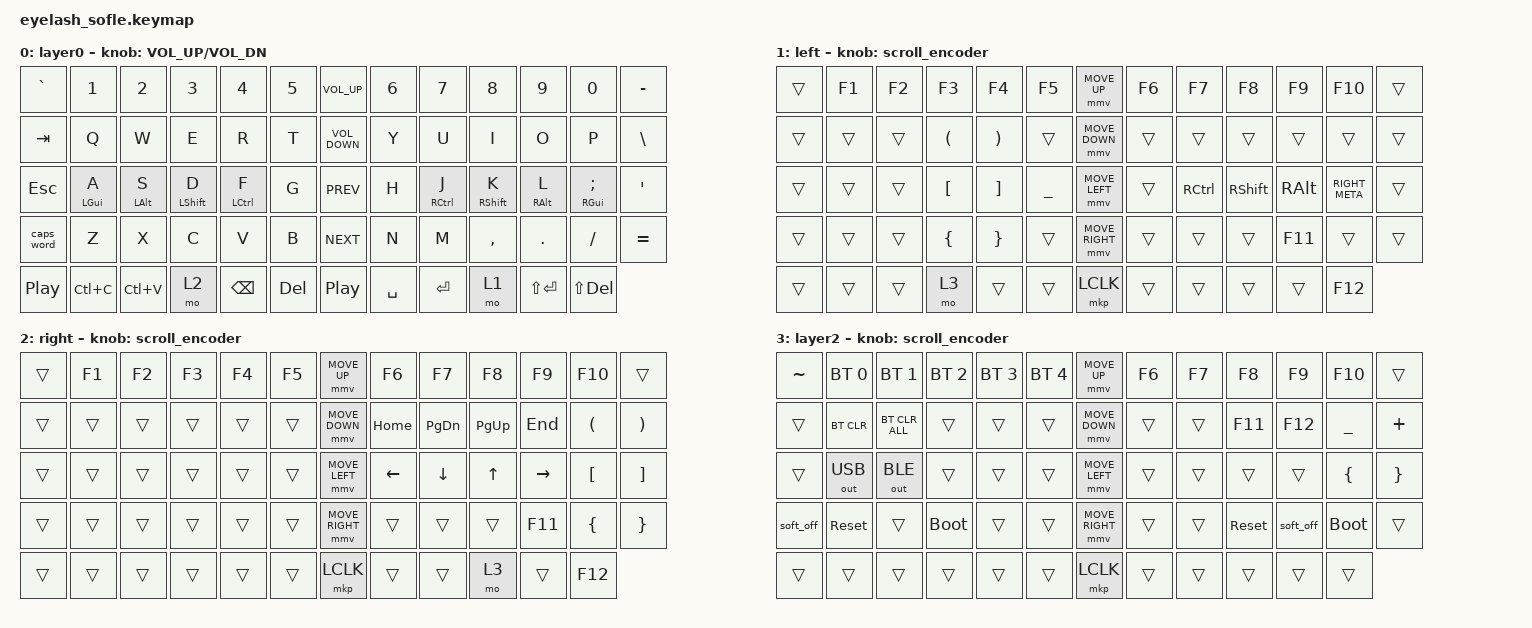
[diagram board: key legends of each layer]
#define ZMK_POINTING_DEFAULT_MOVE_VAL 1200  // 600
#define ZMK_POINTING_DEFAULT_SCRL_VAL 35    // 10

#include <input/processors.dtsi>
#include <zephyr/dt-bindings/input/input-event-codes.h>
#include <behaviors.dtsi>
#include <dt-bindings/zmk/bt.h>
#include <dt-bindings/zmk/keys.h>
#include <dt-bindings/zmk/outputs.h>
#include <dt-bindings/zmk/pointing.h>

/ {
    zip_scroll_scaler: zip_scroll_scaler {
        compatible = "zmk,input-processor-scaler";
        #input-processor-cells = <2>;
        type = <INPUT_EV_REL>;
        codes = <INPUT_REL_WHEEL INPUT_REL_HWHEEL>;
        track-remainders;
    };
};

&mmv_input_listener { input-processors = <&zip_xy_scaler 2 1>; };

&msc_input_listener { input-processors = <&zip_scroll_scaler 2 1>; };

&msc {
    acceleration-exponent = <0>;      // 0
    time-to-max-speed-ms = <0>;       // 300
    delay-ms = <0>;                   // 0
};

&mmv {
    time-to-max-speed-ms = <400>;
    acceleration-exponent = <1>;
};

/ {
    scroll_encoder: scroll_encoder {
        compatible = "zmk,behavior-sensor-rotate";
        #sensor-binding-cells = <0>;
        bindings = <&msc SCRL_DOWN>, <&msc SCRL_UP>;

        tap-ms = <30>;
    };

    behaviors {
        lh_pht: lh_pht {
            compatible = "zmk,behavior-hold-tap";
            label = "LH_PHT";
            bindings = <&kp>, <&kp>;

            #binding-cells = <2>;
            tapping-term-ms = <150>;
            quick-tap-ms = <150>;
            hold-trigger-key-positions = <7 8 9 10 11 12 20 21 22 23 24 25 33 34 35 36 37 38 46 47 48 49 50 51 60 61 62 63 59>;
            flavor = "tap-preferred";
            hold-trigger-on-release;
        };

        rh_pht: rh_pht {
            compatible = "zmk,behavior-hold-tap";
            label = "RH_PHT";
            bindings = <&kp>, <&kp>;

            #binding-cells = <2>;
            tapping-term-ms = <150>;
            quick-tap-ms = <150>;
            hold-trigger-key-positions = <0 1 2 4 5 13 14 15 16 17 18 26 27 28 29 30 31 39 40 41 42 43 44 52 53 54 55 56 57>;
            flavor = "tap-preferred";
            hold-trigger-on-release;
        };
    };

    keymap {
        compatible = "zmk,keymap";

        layer0 {
            bindings = <
&kp GRAVE         &kp N1              &kp N2              &kp N3                &kp N4                  &kp N5        &kp C_VOLUME_UP    &kp N6     &kp N7                   &kp N8                 &kp N9               &kp N0                  &kp MINUS
&kp TAB           &kp Q               &kp W               &kp E                 &kp R                   &kp T         &kp C_VOLUME_DOWN  &kp Y      &kp U                    &kp I                  &kp O                &kp P                   &kp BSLH
&kp ESCAPE        &lh_pht LEFT_GUI A  &lh_pht LEFT_ALT S  &lh_pht LEFT_SHIFT D  &lh_pht LEFT_CONTROL F  &kp G         &kp C_PREV         &kp H      &rh_pht RIGHT_CONTROL J  &rh_pht RIGHT_SHIFT K  &rh_pht RIGHT_ALT L  &rh_pht RIGHT_GUI SEMI  &kp APOS
&caps_word        &kp Z               &kp X               &kp C                 &kp V                   &kp B         &kp C_NEXT         &kp N      &kp M                    &kp COMMA              &kp DOT              &kp FSLH                &kp EQUAL
&kp C_PLAY_PAUSE  &kp LC(C)           &kp LC(V)           &mo 2                 &kp BACKSPACE           &kp DELETE    &kp C_PLAY_PAUSE   &kp SPACE  &kp ENTER                &mo 1                  &kp LS(ENTER)        &kp LS(DELETE)
            >;

            sensor-bindings = <&inc_dec_kp C_VOLUME_UP C_VOL_DN>;
            display-name = "layer0";
        };

        left {
            bindings = <
&trans  &kp F1  &kp F2  &kp F3                &kp F4                 &kp F5            &mmv MOVE_UP     &kp F6  &kp F7     &kp F8      &kp F9    &kp F10         &trans
&trans  &trans  &trans  &kp LEFT_PARENTHESIS  &kp RIGHT_PARENTHESIS  &trans            &mmv MOVE_DOWN   &trans  &trans     &trans      &trans    &trans          &trans
&trans  &trans  &trans  &kp LEFT_BRACKET      &kp RIGHT_BRACKET      &kp UNDERSCORE    &mmv MOVE_LEFT   &trans  &kp RCTRL  &kp RSHIFT  &kp RALT  &kp RIGHT_META  &trans
&trans  &trans  &trans  &kp LEFT_BRACE        &kp RIGHT_BRACE        &trans            &mmv MOVE_RIGHT  &trans  &trans     &trans      &kp F11   &trans          &trans
&trans  &trans  &trans  &mo 3                 &trans                 &trans            &mkp LCLK        &trans  &trans     &trans      &trans    &kp F12
            >;

            display-name = "left";
            sensor-bindings = <&scroll_encoder>;
        };

        right {
            display-name = "right";
            bindings = <
&trans  &kp F1  &kp F2  &kp F3  &kp F4  &kp F5    &mmv MOVE_UP     &kp F6    &kp F7         &kp F8       &kp F9     &kp F10               &trans
&trans  &trans  &trans  &trans  &trans  &trans    &mmv MOVE_DOWN   &kp HOME  &kp PAGE_DOWN  &kp PAGE_UP  &kp END    &kp LEFT_PARENTHESIS  &kp RIGHT_PARENTHESIS
&trans  &trans  &trans  &trans  &trans  &trans    &mmv MOVE_LEFT   &kp LEFT  &kp DOWN       &kp UP       &kp RIGHT  &kp LEFT_BRACKET      &kp RIGHT_BRACKET
&trans  &trans  &trans  &trans  &trans  &trans    &mmv MOVE_RIGHT  &trans    &trans         &trans       &kp F11    &kp LEFT_BRACE        &kp RIGHT_BRACE
&trans  &trans  &trans  &trans  &trans  &trans    &mkp LCLK        &trans    &trans         &mo 3        &trans     &kp F12
            >;

            sensor-bindings = <&scroll_encoder>;
        };

        layer_2 {
            bindings = <
&kp TILDE  &bt BT_SEL 0  &bt BT_SEL 1    &bt BT_SEL 2  &bt BT_SEL 3  &bt BT_SEL 4    &mmv MOVE_UP     &kp F6  &kp F7  &kp F8      &kp F9     &kp F10      &trans
&trans     &bt BT_CLR    &bt BT_CLR_ALL  &trans        &trans        &trans          &mmv MOVE_DOWN   &trans  &trans  &kp F11     &kp F12    &kp UNDER    &kp PLUS
&trans     &out OUT_USB  &out OUT_BLE    &trans        &trans        &trans          &mmv MOVE_LEFT   &trans  &trans  &trans      &trans     &kp LBRC     &kp RBRC
&soft_off  &sys_reset    &trans          &bootloader   &trans        &trans          &mmv MOVE_RIGHT  &trans  &trans  &sys_reset  &soft_off  &bootloader  &trans
&trans     &trans        &trans          &trans        &trans        &trans          &mkp LCLK        &trans  &trans  &trans      &trans     &trans
            >;

            display-name = "layer2";
            sensor-bindings = <&scroll_encoder>;
        };
    };
};
